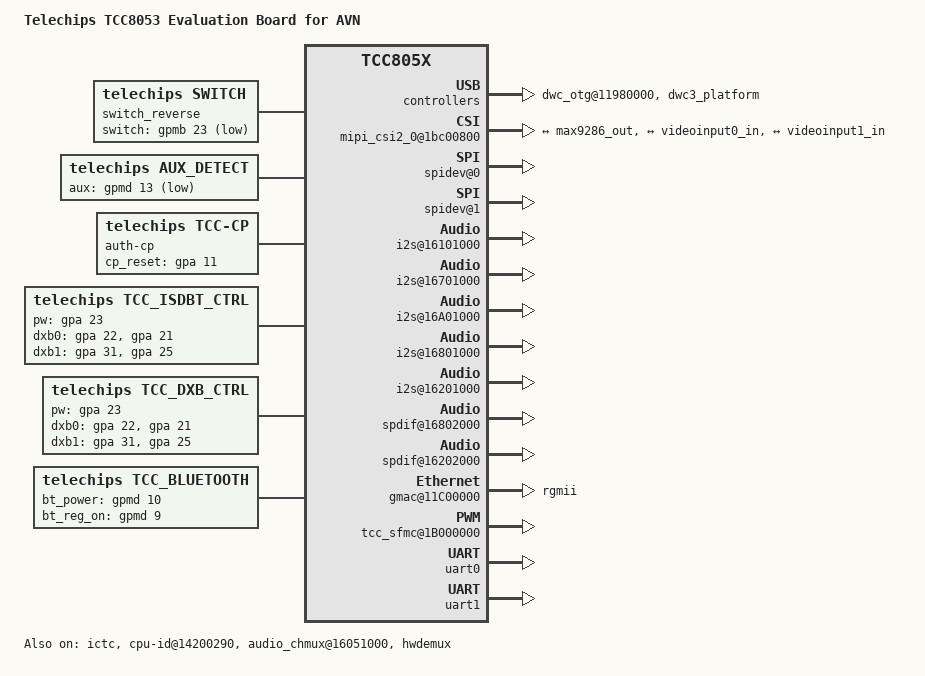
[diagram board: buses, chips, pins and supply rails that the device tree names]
// SPDX-License-Identifier: (GPL-2.0-or-later OR MIT)
/*
 * Copyright (C) Telechips Inc.
 * Device tree for Telechips TCC8053 board
 */

#include "tcc8053.dtsi"
#include "tcc805x-linux.dtsi"

/ {
	model = "Telechips TCC8053 Evaluation Board for AVN";
	compatible = "telechips,tcc8053", "telechips,tcc805x";

	chosen {
		bootargs = "vmalloc=480M console=ttyAMA0,115200n8";
		stdout-path = &uart0;
	};

	pcie@11800000 {
		reset-gpio = <&gpc 30 0>;
		//status = "okay";
	};

	/* USB 2.0 Host */
	ehci_phy@11DA0010 {
		status = "disabled";
		vbus-ctrl-able;
		vbus-gpio = <&gpmc 7 0>; /* 0 : GPIO_ACTIVE_HIGH, 1 : GPIO_ACTIVE_LOW */
	};

	ehci@11A00000 {
		status = "disabled";
		hcd_id = <0>;
		phy-type = <1>;	    //pico phy = 1, nano phy = 0
		TXVRT = <0xB>;
		TXRISET = <0x3>;
		TXAT = <0x1>;
	};

	ohci@11A80000 {
		status = "disabled";
	};

	/* USB 2.0 DRD */
	dwc_otg_phy@11DA0100 {
		status = "okay";
		vbus-ctrl-able;
		vbus-gpio = <&gpmc 6 0>; /* 0 : GPIO_ACTIVE_HIGH, 1 : GPIO_ACTIVE_LOW */
	};

	mux_host_phy@11DA00DC {
		status = "okay";
	};

	dwc_otg@11980000 {
		status = "okay";
		phy-type = <1>;     //pico phy = 1, nano phy = 0
	};

	/* USB 3.0 DRD */
	dwc3_phy@11D90000 {
		status = "okay";
		vbus-ctrl-able;
		vbus-gpio = <&gpmc 8 0>; /* 0 : GPIO_ACTIVE_HIGH, 1 : GPIO_ACTIVE_LOW */
	};

	dwc3_platform {
		status = "okay";
	};

	tcc_ufs@1D280000 {
		status = "disabled";
	};

	switch_reverse {
		compatible = "telechips,switch";
		status = "okay";

		pinctrl-names = "default";
		pinctrl-0 = <&switch_mb23>;

		switch-gpios = <&gpmb 23 1>;
		switch-active = <0>;
	};

	aux_detect {
		compatible = "telechips,aux_detect";
		status = "okay";

		pinctrl-names = "default";
		pinctrl-0 = <&aux_detect_md13>;

		aux-gpios = <&gpmd 13 1>;
		aux-active = <1>;
	};

	fbdisplay: fbdisplay@12000000 {
		telechips,fbdisplay_num = <0>;
		//Linuxplatform
		telechips,overlay_priority = <24>;
		//
		status ="okay";
	};

	cpu-id@14200290{
		compatible = "telechips,tcc-cpu-id";
		reg = <0x14200290 0x4 0x14200298 0x4 0x1420029C 0x4 0x14400014 0x4>;
		status = "okay";
	};

	overlaymixer:overlaymixer@1A100000 {
		status ="okay";
		contiguousSize = <0x1000000>;  /* 16MB (if > 512MB RAM) refer to Guide 27 Page */
		baseAddress = <0x20000000>;
		physSize = <0x80000000>; /*  DRAM size (0x40000000 = 1GB, 0x80000000 = 2GB) */
		};

	/*
	 * MIPI CSI2 0
	 */
	mipi_csi2_0@1bc00800 {
		status = "okay";
		/*
		 * 0: select output of MIPI0
		 * 1: select output of MIPI1
		 */
		mipi-chmux-0 = <0>;
		mipi-chmux-1 = <0>;
		mipi-chmux-2 = <0>;
		mipi-chmux-3 = <0>;

		/*
		 * 0: select output of MIPI1
		 * 1: select output of MIPI0
		 */
		mipi-chmux-4 = <0>;
		mipi-chmux-5 = <0>;
		mipi-chmux-6 = <0>;
		mipi-chmux-7 = <0>;

		/*
		 * 1: bypass isp
		 * 0: use isp
		 */
		isp0-bypass = <1>;
		isp1-bypass = <1>;
		isp2-bypass = <1>;
		isp3-bypass = <1>;

		ports {
			/*
			 * 0 ~ 3
			 * input port.
			 *
			 * 4
			 * output ports. The number is matched with VC
			 */
			port@0 {
				reg = <0>;
				mipi_csi2_0_in: endpoint {
					remote-endpoint	= <&max9286_out>;
					//remote-endpoint	= <&max96712_out>;
					io-direction	= "input";
					num-channel = <4>;

					/*
					 * 0: CH0 only, no data interleave
					 * 1: DT only
					 * 2: VC only
					 * 3: VC and DT
					 */
					interleave-mode = <3>;
					//hs-settle = <2>; // for mcnex ispless 1ch
					hs-settle = <17>; // for HD 4ch
					//hs-settle = <37>; // for FHD 4ch
					data-lanes = <1 2 3 4>;
				};
			};

		        port@1 {
				reg = <1>;
		                mipi_csi2_0_out0: endpoint {
		                        //remote-endpoint = <&isp0_in>;
					remote-endpoint	= <&videoinput0_in>;
					io-direction	= "output";
					channel		= <0>;
					/*
					 * 0: Single pixel mode
					 * 1: Dual pixel mode (RAW8/10/12, YUV422)
					 * 2: Quad pixel mode (RAW8/10/12)
					 * 3: Invalid
					 */
					pixel-mode = <1>;
		                };
			};
			port@2 {
				reg = <2>;
				mipi_csi2_0_out1: endpoint {
					remote-endpoint	= <&videoinput1_in>;
					io-direction	= "output";
					channel		= <1>;
					pixel-mode = <1>;
				};
			};
			port@3 {
				reg = <3>;
				mipi_csi2_0_out2: endpoint {
					remote-endpoint	= <&videoinput2_in>;
					io-direction	= "output";
					channel		= <2>;
					pixel-mode = <1>;
				};
			};
			port@4 {
				reg = <4>;
				mipi_csi2_0_out3: endpoint {
					remote-endpoint	= <&videoinput3_in>;
					io-direction	= "output";
					channel		= <3>;
					pixel-mode = <1>;
				};
			};
		};
	};

	/*
	 * MIPI CSI2 1
	 */
	mipi_csi2_1@1bc00c00  {
		status = "disabled";
		/*
		 * 0: select output of MIPI0
		 * 1: select output of MIPI1
		 */
		mipi-chmux-0 = <0>;
		mipi-chmux-1 = <0>;
		mipi-chmux-2 = <0>;
		mipi-chmux-3 = <0>;
		/*
		 * 0: select output of MIPI1
		 * 1: select output of MIPI0
		 */
		mipi-chmux-4 = <0>;
		mipi-chmux-5 = <0>;
		mipi-chmux-6 = <0>;
		mipi-chmux-7 = <0>;

		/*
		 * 1: bypass isp
		 * 0: use isp
		 */
		isp0-bypass = <1>;
		isp1-bypass = <1>;
		isp2-bypass = <1>;
		isp3-bypass = <1>;
	};

	isp0@1bc80000 {
		status = "okay";
/* for isp mcu debugging
		pinctrl-names = "default";
		pinctrl-0 = <&isp0_uart_tx &isp0_uart_rx>;
*/
		ports {
		        port@0 {
				reg = <0>;
		                isp0_in: endpoint {
		                        remote-endpoint = <&mipi_csi2_0_out0>;
					io-direction	= "input";
		                };
			};
			port@1 {
				reg = <1>;
				isp0_out: endpoint {
					remote-endpoint	= <&videoinput0_in>;
					io-direction	= "output";
				};
			};
		};
	};

	isp1@1bca0000 {
		status = "okay";
/* for isp mcu debugging
		pinctrl-names = "default";
		pinctrl-0 = <&isp1_uart_tx &isp1_uart_rx>;
*/
		ports {
		        port@0 {
				reg = <0>;
		                isp1_in: endpoint {
		                        remote-endpoint = <&mipi_csi2_0_out1>;
					io-direction	= "input";
		                };
			};
			port@1 {
				reg = <1>;
				isp1_out: endpoint {
					remote-endpoint	= <&videoinput1_in>;
					io-direction	= "output";
				};
			};
		};
	};

	isp2@1bcc0000 {
		status = "okay";
/* for isp mcu debugging
		pinctrl-names = "default";
		pinctrl-0 = <&isp2_uart_tx &isp2_uart_rx>;
*/
		ports {
		        port@0 {
				reg = <0>;
		                isp2_in: endpoint {
		                        remote-endpoint = <&mipi_csi2_0_out2>;
					io-direction	= "input";
		                };
			};
			port@1 {
				reg = <1>;
				isp2_out: endpoint {
					remote-endpoint	= <&videoinput2_in>;
					io-direction	= "output";
				};
			};
		};
	};

	isp3@1bce0000 {
		status = "okay";
/* for isp mcu debugging
		pinctrl-names = "default";
		pinctrl-0 = <&isp3_uart_tx &isp3_uart_rx>;
*/
		ports {
		        port@0 {
				reg = <0>;
		                isp3_in: endpoint {
		                        remote-endpoint = <&mipi_csi2_0_out3>;
					io-direction	= "input";
		                };
			};
			port@1 {
				reg = <1>;
				isp3_out: endpoint {
					remote-endpoint	= <&videoinput3_in>;
					io-direction	= "output";
				};
			};
		};
	};

	videoinput@0 {
		status = "okay";
		cifport	= <&cifport 0>;
/* for MIPI CSI2 input
		cifport = <&cifport 5>;
*/
		port {
			videoinput0_in: endpoint {
				remote-endpoint	= <&adv7182_out>;
				io-direction	= "input";
				bus-type	= <0>;
				stream-enable	= <0>;	// VIN_CTRL.SE
				flush-vsync	= <0>;	// VIN_MISC.FVS
/* for MIPI CSI2 input
				//remote-endpoint	= <&isp0_out>;
				remote-endpoint	= <&mipi_csi2_0_out0>;
				io-direction	= "input";
				bus-type	= <0>;
				stream-enable	= <1>;	// VIN_CTRL.SE
				flush-vsync	= <1>;	// VIN_MISC.FVS
*/
			};
		};
	};

	videoinput@1 {
		status = "disabled";
		cifport	= <&cifport 6>;

		port {
			videoinput1_in: endpoint {
				remote-endpoint	= <&mipi_csi2_0_out1>;
				io-direction	= "input";
				bus-type	= <0>;
				stream-enable	= <1>;	// VIN_CTRL.SE
				flush-vsync	= <1>;	// VIN_MISC.FVS
			};
		};
	};

	videoinput@2 {
		status = "disabled";
		cifport	= <&cifport 7>;

		port {
			videoinput2_in: endpoint {
				remote-endpoint	= <&mipi_csi2_0_out2>;
				io-direction	= "input";
				bus-type	= <0>;
				stream-enable	= <1>;	// VIN_CTRL.SE
				flush-vsync	= <1>;	// VIN_MISC.FVS
			};
		};
	};

	videoinput@3 {
		status = "disabled";
		cifport	= <&cifport 8>;

		port {
			videoinput3_in: endpoint {
				remote-endpoint	= <&mipi_csi2_0_out3>;
				io-direction	= "input";
				bus-type	= <0>;
				stream-enable	= <1>;	// VIN_CTRL.SE
				flush-vsync	= <1>;	// VIN_MISC.FVS
			};
		};
	};

	gpsb0@16900000 {
		status = "okay";
		gpsb-port = <22>;
		pinctrl-names = "idle", "active";
		pinctrl-0 = <&gpsb22_bus_idle>;
		pinctrl-1 = <&gpsb22_bus_spi>;

		/* cs-gpios */
		cs-gpios = <&gpg 8 0>,<&gpa 30 0>;

		#address-cells = <1>;
		#size-cells = <0>;
		spidev@0 {
			compatible = "rohm,dh2228fv";
			reg = <0>;
			spi-max-frequency = <20000000>;
		};
		spidev@1 {
			compatible = "rohm,dh2228fv";
			reg = <1>;
			spi-max-frequency = <20000000>;
		};
	};

	gpsb1@16910000 {
		status = "okay";
		gpsb-port = <15>;
		pinctrl-names = "idle", "active";
		pinctrl-0 = <&gpsb15_bus_idle>;
		pinctrl-1 = <&gpsb15_bus_tsif>;
	};

	gpsb2@16920000 {
		status = "okay";
		gpsb-port = <16>;
		pinctrl-names = "idle", "active";
		pinctrl-0 = <&gpsb16_bus_idle>;
		pinctrl-1 = <&gpsb16_bus_tsif>;
	};

	//This is for SDR solution.
	pinctrl@14200000 {
		m1dai1_bclk: m1dai1_bclk {
			 telechips,schmitt-input;
		};
		m1dai1_lrck: m1dai1_lrck {
			 telechips,schmitt-input;
		};
		m1dai1_dai0: m1dai1_dai0 {
			 telechips,schmitt-input;
		};
		m1dai1_dai1: m1dai1_dai1 {
			 telechips,schmitt-input;
		};
		m1dai1_dai2: m1dai1_dai2 {
			 telechips,schmitt-input;
		};
		m1dai1_dai3: m1dai1_dai3 {
			 telechips,schmitt-input;
		};
		m1dai0_bclk: m1dai0_bclk {
			 telechips,schmitt-input;
		};
		m1dai0_lrck: m1dai0_lrck {
			 telechips,schmitt-input;
		};
		m1dai0_dai0: m1dai0_dai0 {
			 telechips,schmitt-input;
		};
		m1dai0_dai1: m1dai0_dai1 {
			 telechips,schmitt-input;
		};
		m1dai0_dai2: m1dai0_dai2 {
			 telechips,schmitt-input;
		};
		m1dai0_dai3: m1dai0_dai3 {
			 telechips,schmitt-input;
		};
	};

	/* sdr */
	i2s@16101000 {
		compatible = "telechips,sdr";
		dev-name = "tcc-iq01";
		pinctrl-names = "default", "idle";
		pinctrl-0 = <&m1dai1_bclk &m1dai1_lrck &m1dai1_dai0 &m1dai1_dai1 &m1dai1_dai2 &m1dai1_dai3>;
		pinctrl-1 = <&m1dai1_bclk_idle &m1dai1_lrck_idle &m1dai1_dai0_idle &m1dai1_dai1_idle &m1dai1_dai2_idle &m1dai1_dai3_idle>;
		status = "okay";
	};

	i2s@16701000 {
		compatible = "telechips,sdr";
		dev-name = "tcc-iq23";
		pinctrl-names = "default", "idle";
		pinctrl-0 = <&m1dai0_bclk &m1dai0_lrck &m1dai0_dai0 &m1dai0_dai1>;
		pinctrl-1 = <&m1dai0_bclk_idle &m1dai0_lrck_idle &m1dai0_dai0_idle &m1dai0_dai1_idle>;
		status = "okay";
	};


	i2s@16A01000 {
		compatible = "telechips,sdr";
		dev-name = "tcc-hdr-blend";
		pinctrl-names = "default", "idle";
		pinctrl-0 = <&m0dai1_bclk &m0dai1_lrck &m0dai1_dai0>;
		pinctrl-1 = <&m0dai1_bclk_idle &m0dai1_lrck_idle &m0dai1_dai0_idle>;
		status = "okay";
	};

	audio_chmux@16051000{
		compatible = "telechips,audio-chmux-805x";
		dai = <1 0 3 0 1 99 99 99>;	// i2s0(x) i2s1(x) i2s2(x) i2s3(x) i2s4(x) i2s5(x) i2s6(x) i2s7(x)
		spdif = <99 99 4 5 99 99 99>;	// spdif0(x) spdif1(x) spdif2(x) spdif3(x) spdif4(x) spdif5(x) spdif6(x)
		status = "okay";
	};

	adma@16100000 { //SDR iq01
		status = "disabled";
	};

	adma@16700000 {	//SDR iq23
		status = "disabled";
	};

	adma@16800000 {	//Main Audio, SPDIF TX
		status = "okay";
	};

	adma@16200000 {	//BT, SPDIF RX
		status = "okay";
	};

	adma@16A00000 {
		status = "disabled";
	};

	i2s@16801000 {	//Main Audio
		pinctrl-names = "default", "idle";
		pinctrl-0 = <&m1dai3_mclk &m1dai3_bclk &m1dai3_lrck &m1dai3_dao0 &m1dai3_dai0>;
		pinctrl-1 = <&m1dai3_mclk_idle &m1dai3_bclk_idle &m1dai3_lrck_idle &m1dai3_dao0_idle &m1dai3_dai0_idle>;
		status = "okay";

	};

	i2s@16201000 {	//BT
		pinctrl-names = "default", "idle";
		pinctrl-0 = <&m0dai0_bclk &m0dai0_lrck &m0dai0_dao0 &m0dai0_dai0>;
		pinctrl-1 = <&m0dai0_bclk_idle &m0dai0_lrck_idle &m0dai0_dao0_idle &m0dai0_dai0_idle>;
		status = "okay";

	};


	spdif@16802000 {
		pinctrl-names = "default", "idle";
		pinctrl-0 = <&spdif4_tx>;
		pinctrl-1 = <&spdif4_tx_idle>;
		status = "okay";
	};

	spdif@16202000 {
		pinctrl-names = "default", "idle";
		pinctrl-0 = <&spdif5_rx>;
		pinctrl-1 = <&spdif5_rx_idle>;
		status = "okay";
	};

/*
	asrc0: asrc@16500000 {
		sync-mode = <1 1 1 1>; // 0:async, 1:sync
		//path-type = <0 0 0 0>; // 0:m2m, 1:m2p, 2:p2m
		path-type = <1 1 1 2>; // 0:m2m, 1:m2p, 2:p2m
		status = "okay";
	};

	sound@0 {
		compatible = "telechips,asrc-card";
		card-name = "TCC805x EVM Card";
		status = "okay";

		asrc = <&asrc0>;

		telechips,dai-link@0 {
			codec,format = "i2s";

			i2s = <&i2s0>;
			codec = <&ak4601>;
			codec,dai-name = "ak4601-aif1";

			asrc-m2p-pairs = <0 1 2>;
			asrc-p2m-pairs = <3>;

			mclk_div = <16>; // 4,6,8,16
			bclk_ratio = <64>; // 32,48,64fs
			samplerate = <48000>;
			format = <0>; // 0:S16LE, 1:S24LE
			channels = <2>; //2, 4, 6, 8
		};
	};
*/

	sound@0 {
		compatible = "telechips,snd-card";
		card-name = "TCC805x EVM Card";
		status = "okay";

		telechips,dai-link@0 {
			stream-name="I2S_0";
			codec,format = "i2s"; // i2s, left_j, right_j
			codec,continuous-clock;
			mclk_div = <16>; // 4,6,8,16
			bclk_ratio = <64>; // 32,48,64fs
			pcm = <&adma2>;
			dai = <&i2s2>;
			codec = <&ak4601>;
			codec,dai-name = "ak4601-aif1";
		};

		telechips,dai-link@1 {
			stream-name="SPDIF_0_TX";
			pcm = <&adma2>;
			dai = <&spdif2>;
			playback-only;
		};

		telechips,dai-link@2 {
			stream-name="SPDIF_1_RX";
			pcm = <&adma3>;
			dai = <&spdif3>;
			capture-only;
		};

		telechips,dai-link@3 {
			stream-name="I2S_3";
			codec,format = "i2s"; // i2s, left_j, right_j
			codec,continuous-clock;
			mclk_div = <16>; // 4,6,8,16
			bclk_ratio = <64>; // 32,48,64fs
			pcm = <&adma3>;
			dai = <&i2s3>;
		};
	};

	gmac@11C00000 {
		status = "okay";
		compatible = "snps,dwmac-4.10a","telechips,gmac";
//		phyon-gpio	= <&gpc 27 0>;
		phyrst-gpio = <&gpmc 11 0>;
		phy-interface = "rgmii";
		interrupt-names = "macirq";
		phy-mode = "rgmii";
		snps,txpbl = <8>;
		snps,rxpbl = <2>;
		//ecid-mac-addr;
		txclk-o-dly = <31>;
		txclk-o-inv = <0>;
		txclk-i-dly = <0>;
		txclk-i-inv = <0>;
		txen-dly = <0>;
		txer-dly = <0>;
		txd0-dly = <0>;
		txd1-dly = <0>;
		txd2-dly = <0>;
		txd3-dly = <0>;
		txd4-dly = <0>;
		txd5-dly = <0>;
		txd6-dly = <0>;
		txd7-dly = <0>;
		rxclk-i-dly = <0>;
		rxclk-i-inv = <0>;
		rxdv-dly = <0>;
		rxer-dly = <0>;
		rxd0-dly = <0>;
		rxd1-dly = <0>;
		rxd2-dly = <0>;
		rxd3-dly = <0>;
		rxd4-dly = <0>;
		rxd5-dly = <0>;
		rxd6-dly = <0>;
		rxd7-dly = <0>;
		crs-dly = <0>;
		col-dly = <0>;
		pinctrl-names = "default", "mii", "rmii", "gmii", "rgmii";
		pinctrl-0 = <>;
		pinctrl-1 = <&gmac1_mdc &gmac1_mdio &gmac1_col &gmac1_crs &gmac1_txer &gmac1_rxer
					 &gmac1_txclk &gmac1_txen &gmac1_txd0 &gmac1_txd1 &gmac1_txd2 &gmac1_txd3
					 &gmac1_rxclk &gmac1_rxdv &gmac1_rxd0 &gmac1_rxd1 &gmac1_rxd2 &gmac1_rxd3>;
		pinctrl-2 = <&gmac1_mdc &gmac1_mdio
					 &gmac1_txclk &gmac1_txen &gmac1_txd0 &gmac1_txd1
					 &gmac1_rxer &gmac1_rxdv &gmac1_rxd0 &gmac1_rxd1>;
		pinctrl-3 = <&gmac1_mdc &gmac1_mdio &gmac1_col &gmac1_crs &gmac1_txer &gmac1_rxer
					 &gmac1_txclk &gmac1_txen &gmac1_txd0 &gmac1_txd1 &gmac1_txd2 &gmac1_txd3
					 &gmac1_txd4 &gmac1_txd5 &gmac1_txd6 &gmac1_txd7
					 &gmac1_rxclk &gmac1_rxdv &gmac1_rxd0 &gmac1_rxd1 &gmac1_rxd2 &gmac1_rxd3
					 &gmac1_rxd4 &gmac1_rxd5 &gmac1_rxd6 &gmac1_rxd7>;
		pinctrl-4 = <&gmac1_mdc &gmac1_mdio
					 &gmac1_txclk &gmac1_txen &gmac1_txd0 &gmac1_txd1 &gmac1_txd2 &gmac1_txd3
					 &gmac1_rxclk &gmac1_rxdv &gmac1_rxd0 &gmac1_rxd1 &gmac1_rxd2 &gmac1_rxd3>;
	};

	/* CP */
	auth-cp {
		compatible = "telechips, tcc-cp";
		cp-type = <2>;	    /* 2.0C = 1, 2.0B = 0, 3.0 = 2 */
		i2c-channel = <3>;	/* 0 ~ 3 */
		/*	power-ctrl-able; */
		/* cp_power-gpio = <&gpk 14 0>; */
		cp_reset-gpio = <&gpa 11 0>;
	};

	/* broadcast(ISDB-T/DAB/DMB) */

	/* H/W Demux */
	hwdemux: cmbus@19000000 {
		 compatible = "telechips,hwdemux";
		 status = "okay";
	};

	tcc_hwdmx_tsif@0 {
		compatible = "telechips,tcc89xx-hwdmx-tsif";
		tsif-id = <0>;
		tsif-port = <0>;
		pinctrl-names = "idle", "active";
		pinctrl-0 = <&ts0_idle>;
		pinctrl-1 = <&ts0_active>;
		clocks = <&clk_peri PERI_TSRX0>;
		clock-names = "tsrx0";
	};

	tcc_hwdmx_tsif@1 {
		compatible = "telechips,tcc89xx-hwdmx-tsif";
		tsif-id = <1>;
		tsif-port = <1>;
		pinctrl-names = "idle", "active";
		pinctrl-0 = <&ts1_idle>;
		pinctrl-1 = <&ts1_active>;
		clocks = <&clk_peri PERI_TSRX1>;
		clock-names = "tsrx1";
	};

	tcc_isdbt_ctrl {
		compatible = "telechips,tcc_isdbt_ctrl";
		pw-gpios = <&gpa 23 0>;
		dxb0-gpios = <&gpa 22 0>, <&gpa 21 0>, <0>, <0>;
		dxb1-gpios = <&gpa 31 0>, <&gpa 25 0>, <0>, <0>;
		ant-gpios = <0>, <0>;
	};

	tcc_dxb_ctrl {
		compatible = "telechips,tcc_dxb_ctrl";
		pw-gpios = <&gpa 23 0>;
		dxb0-gpios = <&gpa 22 0>, <&gpa 21 0>, <0>, <0>;
		dxb1-gpios = <&gpa 31 0>, <&gpa 25 0>, <0>, <0>;
		ant-gpios = <0>, <0>;
	};

	/* bluetooth */
	tcc_bluetooth {
		compatible = "telechips, tcc_bluetooth";
		bt_power-gpio = <&gpmd 10 0>; /* BTWIFI_VBAT_EN */
		bt_reg_on-gpio = <&gpmd 9 0>;
		status = "okay";
	};

	tcc_bt_dev {
		compatible = "telechips, tcc_bt_dev";
		status = "okay";
	};

	vout_drv@0 {
		status = "okay";
	};
	smartcard {
		compatible = "telechips,pl131-smartcard";
		reg = <0x16601000 0xFFF 0x16684000 0x10>;                //smartcard #0,
		clocks = <&clk_io IOBUS_SMARTCARD4>;
		clock-frequency = <50000000>;
		smartcard-clock = <4000000>;                             // initail value 4Mhz
		Fi = <372>;						 // clock rate conversion integer
		Di = <1>;						 // initail value

		uart_ch = <&uart1>;					 // uart and smartcard share clock
		uart_chnum = <1>;
		port-num = <0>;
		tda8024-use = <1>;
		rst_gpios =  <&gpb 16 0>;
		detect_gpios = <&gph 7 0>;
		pwren_gpios = <&gph 10 0>;
		data_gfb = <21>;
		clk_gfb = <22>;
		pinctrl-names = "default";
		pinctrl-0 = <&smartcard_bus>;
		status = "disable";
	};

	tcc_sfmc@1B000000 {
		compatible = "telechips,tcc_sfmc";
		status = "okay";
		pinctrl-names = "default";
		pinctrl-0 = <&sfmc_clkcs &sfmc_databus4>;
	};
};

&uart0 {
	pinctrl-names = "default";
	pinctrl-0 = <&uart18_data>;
	status = "okay";
};

/* bluetooth */
&uart1 {
	pinctrl-names = "default";
	pinctrl-0 = <&uart20_data &uart20_rtscts>;
	dmas = <&udma1 2 2 &udma1 3 2>;
	dma-names = "tx", "rx";
	status = "okay";
};

&ictc {
        status = "okay";
        pinctrl-names = "default";
        pinctrl-0 = <&ictc_f_in>;
        f-in-gpio = <&gph 5 0>;
        //f-in-rtc-wkup;
        r-edge = <100>;
        f-edge = <100>;
        edge-matching-value = <100>;
        time-out = <0>;
        duty-rounding-value = <0x0ffffff0>;
        prd-rounding-value = <0x0fffffff0>;
        flt-f-mode = <0x3>;
        flt-r-mode = <0x3>;
        cmp-err-sel = <0>;
        abs-sel = <1>;
        edge-sel = <0>;
        tck-pol = <0>;
        tck-sel = <0>;
        lock-en = <0>;
        //r-edge-int
        //f-edge-int;
        //df-cnt-full-int
        f-chg-int;
        //d-chg-int;
        //e-cnt-full-int;
        //to-cnt-full-int;
        //nf-ed-cnt-full-int;
        //time-stamp-cnt;
};
